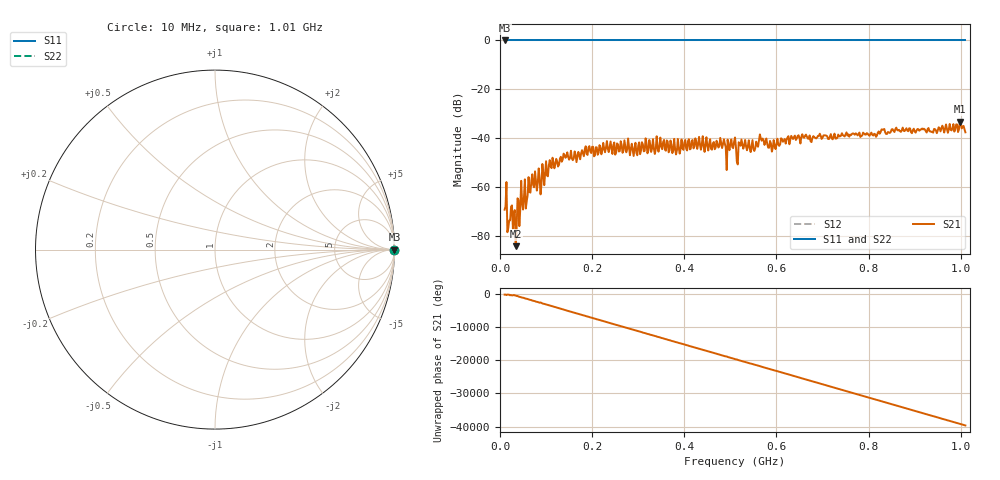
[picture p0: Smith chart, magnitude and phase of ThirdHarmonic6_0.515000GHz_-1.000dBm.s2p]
! 8/15/2025 3:46:37 PM
! C:\ANRITSUVNA\TEMP\TEMP.S2P
! CHANNEL.1
! TR.MEASUREMENT
! RAW.DATA
! RF.CORRECTION.OFF
! AVERAGING.OFF
! IF.BANDWIDTH: 5KHZ
! SWEEPTYPE:  FREQ.SWEEP(Linear)
! Reference Plane Port Info
! PORT:  PORT1  PORT2
! DISTANCE:  0  m  0  m
! TIME:  0  s  0  s
! PHASE.OFFSET:  0  deg.  0  deg.
! LOSS:  0  dB  0  dB
! REF.LOSS:  0  dB  0  dB
! REF.FREQ:  0  Hz  0  Hz
! Power Info
! POWER:  -20  dBm  -20  dBm
! EFF.POWER:  -20  dBm  -20  dBm
! SOURCE.ATTEN:  0  dB  0  dB
! TEST.ATTEN:  0  dB  0  dB
# GHZ S RI R 50.0
! FREQ.GHZ  S11RE  S11IM  S21RE  S21IM  S12RE  S12IM  S22RE  S22IM
!; PortSelection: Port_12
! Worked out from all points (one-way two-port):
!   501 points, 10 MHz to 1.01 GHz, reference 50 ohm
!   highest |S21| = -33.35 dB at 998 MHz (marker M1); lowest = -84.3 dB at 34 MHz (marker M2)
!   lowest |S11| = 0.0 dB at 10 MHz (marker M3)
!   |S11| at or under -10 dB: nowhere
!   |S22| runs from 0.0 to 0.0 dB; largest |S21 - S12| = 1
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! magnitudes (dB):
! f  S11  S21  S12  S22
! 10 MHz  0.0  -69.4  0.0  0.0
! 20 MHz  0.0  -73.7  0.0  0.0
! 28 MHz  0.0  -77.1  0.0  0.0
! 32 MHz  0.0  -69.5  0.0  0.0
! 34 MHz  0.0  -84.3  0.0  0.0
! 38 MHz  0.0  -64.7  0.0  0.0
! 42 MHz  0.0  -76.1  0.0  0.0
! 46 MHz  0.0  -57.5  0.0  0.0
! 50 MHz  0.0  -69.3  0.0  0.0
! 54 MHz  0.0  -56.9  0.0  0.0
! 72 MHz  0.0  -59.2  0.0  0.0
! 92 MHz  0.0  -50.6  0.0  0.0
! 110 MHz  0.0  -51.7  0.0  0.0
! 142 MHz  0.0  -48.1  0.0  0.0
! 178 MHz  0.0  -45.0  0.0  0.0
! 344 MHz  0.0  -45.6  0.0  0.0
! 510 MHz  0.0  -39.8  0.0  0.0
! 566 MHz  0.0  -40.1  0.0  0.0
! 678 MHz  0.0  -39.9  0.0  0.0
! 844 MHz  0.0  -37.7  0.0  0.0
! 998 MHz  0.0  -33.3  0.0  0.0
! 1.01 GHz  0.0  -37.6  0.0  0.0
